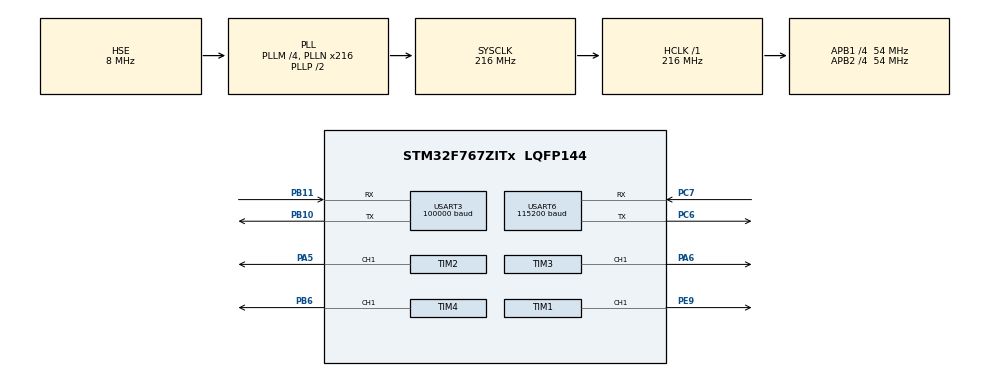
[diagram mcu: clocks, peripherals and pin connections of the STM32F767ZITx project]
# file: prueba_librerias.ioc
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Dma.Request0=USART3_RX
Dma.Request1=USART6_RX
Dma.USART3_RX.0.Direction=DMA_PERIPH_TO_MEMORY
Dma.USART3_RX.0.FIFOMode=DMA_FIFOMODE_DISABLE
Dma.USART3_RX.0.Instance=DMA1_Stream1
Dma.USART3_RX.0.MemDataAlignment=DMA_MDATAALIGN_BYTE
Dma.USART3_RX.0.MemInc=DMA_MINC_ENABLE
Dma.USART3_RX.0.Mode=DMA_NORMAL
Dma.USART3_RX.0.PeriphDataAlignment=DMA_PDATAALIGN_BYTE
Dma.USART3_RX.0.PeriphInc=DMA_PINC_DISABLE
Dma.USART3_RX.0.Priority=DMA_PRIORITY_LOW
Dma.USART6_RX.1.Direction=DMA_PERIPH_TO_MEMORY
Dma.USART6_RX.1.FIFOMode=DMA_FIFOMODE_DISABLE
Dma.USART6_RX.1.Instance=DMA2_Stream1
Dma.USART6_RX.1.MemDataAlignment=DMA_MDATAALIGN_BYTE
Dma.USART6_RX.1.MemInc=DMA_MINC_ENABLE
Dma.USART6_RX.1.Mode=DMA_NORMAL
Dma.USART6_RX.1.PeriphDataAlignment=DMA_PDATAALIGN_BYTE
Dma.USART6_RX.1.PeriphInc=DMA_PINC_DISABLE
Dma.USART6_RX.1.Priority=DMA_PRIORITY_LOW
FREERTOS.BinarySemaphores01=uartTXsemIT,Dynamic,NULL;uartRXsemIT,Dynamic,NULL;buff_TXsemIT,Dynamic,NULL;buff_RXsemIT,Dynamic,NULL;RF_RXsemIT,Dynamic,NULL
FREERTOS.Mutexes01=uartTXmutex,Dynamic,NULL;uartRXmutex,Dynamic,NULL;buff_TXmutex,Dynamic,NULL;buff_RXmutex,Dynamic,NULL;rf_mutex_uart_rx,Dynamic,NULL
FREERTOS.Tasks01=defaultTask,24,128,StartDefaultTask,Default,NULL,Dynamic,NULL,NULL
FREERTOS.configUSE_NEWLIB_REENTRANT=1
Mcu.Family=STM32F7
Mcu.Name=STM32F767ZITx
Mcu.Package=LQFP144
NVIC.DMA1_Stream1_IRQn=true\:5\:0\:false\:false\:true\:true\:false\:true
NVIC.DMA2_Stream1_IRQn=true\:5\:0\:false\:false\:true\:true\:false\:true
NVIC.PriorityGroup=NVIC_PRIORITYGROUP_4
NVIC.TIM8_UP_TIM13_IRQn=true\:15\:0\:false\:false\:true\:false\:false\:true
NVIC.TimeBase=TIM8_UP_TIM13_IRQn
NVIC.TimeBaseIP=TIM8
NVIC.USART3_IRQn=true\:5\:0\:false\:false\:true\:true\:true\:true
NVIC.USART6_IRQn=true\:5\:0\:false\:false\:true\:true\:true\:true
PA5.Signal=S_TIM2_CH1_ETR
PA6.Signal=S_TIM3_CH1
PB10.Mode=Asynchronous
PB10.Signal=USART3_TX
PB11.Mode=Asynchronous
PB11.Signal=USART3_RX
PB6.Signal=S_TIM4_CH1
PC6.Mode=Asynchronous
PC6.Signal=USART6_TX
PC7.Mode=Asynchronous
PC7.Signal=USART6_RX
PE9.Signal=S_TIM1_CH1
PH0/OSC_IN.Mode=HSE-External-Oscillator
PH0/OSC_IN.Signal=RCC_OSC_IN
PH1/OSC_OUT.Mode=HSE-External-Oscillator
PH1/OSC_OUT.Signal=RCC_OSC_OUT
ProjectManager.HeapSize=0x200
ProjectManager.StackSize=0x400
ProjectManager.TargetToolchain=STM32CubeIDE
RCC.AHBFreq_Value=216000000
RCC.APB1CLKDivider=RCC_HCLK_DIV4
RCC.APB1Freq_Value=54000000
RCC.APB1TimFreq_Value=108000000
RCC.APB2CLKDivider=RCC_HCLK_DIV4
RCC.APB2Freq_Value=54000000
RCC.APB2TimFreq_Value=108000000
RCC.CortexFreq_Value=216000000
RCC.HCLKFreq_Value=216000000
RCC.HSE_VALUE=8000000
RCC.HSI_VALUE=16000000
RCC.LSE_VALUE=32768
RCC.PLLM=4
RCC.PLLN=216
RCC.PLLSourceVirtual=RCC_PLLSOURCE_HSE
RCC.SYSCLKFreq_VALUE=216000000
RCC.SYSCLKSource=RCC_SYSCLKSOURCE_PLLCLK
RCC.USBFreq_Value=216000000
RCC.VCOOutputFreq_Value=432000000
SH.S_TIM1_CH1.0=TIM1_CH1,PWM Generation1 CH1
SH.S_TIM2_CH1_ETR.0=TIM2_CH1,PWM Generation1 CH1
SH.S_TIM3_CH1.0=TIM3_CH1,PWM Generation1 CH1
SH.S_TIM4_CH1.0=TIM4_CH1,PWM Generation1 CH1
TIM1.Channel-PWM\ Generation1\ CH1=TIM_CHANNEL_1
TIM1.Period=100-1
TIM1.Prescaler=108-1
TIM2.Channel-PWM\ Generation1\ CH1=TIM_CHANNEL_1
TIM2.Period=100
TIM2.Prescaler=30
TIM3.Channel-PWM\ Generation1\ CH1=TIM_CHANNEL_1
TIM3.Period=1500
TIM3.Prescaler=30
TIM4.Channel-PWM\ Generation1\ CH1=TIM_CHANNEL_1
TIM4.Period=100-1
TIM4.Prescaler=108-1
USART3.BaudRate=100000
USART3.Mode=MODE_RX
USART3.Parity=PARITY_EVEN
USART3.RxPinLevelInvertParam=ADVFEATURE_RXINV_ENABLE
USART3.StopBits=STOPBITS_2
USART3.VirtualMode-Asynchronous=VM_ASYNC
USART3.WordLength=WORDLENGTH_9B
USART6.BaudRate=115200
USART6.VirtualMode-Asynchronous=VM_ASYNC
USART6.WordLength=WORDLENGTH_8B
VP_FREERTOS_VS_CMSIS_V2.Mode=CMSIS_V2
VP_SYS_VS_tim8.Mode=TIM8
VP_TIM1_VS_ClockSourceINT.Mode=Internal
VP_TIM2_VS_ClockSourceINT.Mode=Internal
VP_TIM3_VS_ClockSourceINT.Mode=Internal
VP_TIM4_VS_ClockSourceINT.Mode=Internal
board=custom

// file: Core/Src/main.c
/* USER CODE BEGIN Header */
/**
  ******************************************************************************
  * @file           : main.c
  * @brief          : Main program body
  ******************************************************************************
  * @attention
  *
  * Copyright (c) 2022 STMicroelectronics.
  * All rights reserved.
  *
  * This software is licensed under terms that can be found in the LICENSE file
  * in the root directory of this software component.
  * If no LICENSE file comes with this software, it is provided AS-IS.
  *
  ******************************************************************************
  */
/* USER CODE END Header */
#include "main.h"
#include "cmsis_os.h"

/* USER CODE BEGIN Includes */
int send_cmd[2];
#include <stdbool.h>
#include "LibreriasStm32/include/keya_driver.h"
#include "LibreriasStm32/include/kinematics.h"
#include "LibreriasStm32/include/R12DS.h"

/* USER CODE END Includes */

/* USER CODE BEGIN PTD */
#ifdef __GNUC__
  /* With GCC, small printf (option LD Linker->Libraries->Small printf
     set to 'Yes') calls __io_putchar() */
  #define PUTCHAR_PROTOTYPE int __io_putchar(int ch)
#else
  #define PUTCHAR_PROTOTYPE int fputc(int ch, FILE *f)
#endif /* __GNUC__ */

/* USER CODE END PTD */

TIM_HandleTypeDef htim1;
TIM_HandleTypeDef htim2;
TIM_HandleTypeDef htim3;
TIM_HandleTypeDef htim4;

UART_HandleTypeDef huart3;
UART_HandleTypeDef huart6;
DMA_HandleTypeDef hdma_usart3_rx;
DMA_HandleTypeDef hdma_usart6_rx;

/* Definitions for defaultTask */
osThreadId_t defaultTaskHandle;
const osThreadAttr_t defaultTask_attributes = {
  .name = "defaultTask",
  .stack_size = (1024*2) * 4,
  .priority = (osPriority_t) osPriorityNormal,
};
/* Definitions for uartTXmutex */
osMutexId_t uartTXmutexHandle;
const osMutexAttr_t uartTXmutex_attributes = {
  .name = "uartTXmutex"
};
/* Definitions for uartRXmutex */
osMutexId_t uartRXmutexHandle;
const osMutexAttr_t uartRXmutex_attributes = {
  .name = "uartRXmutex"
};
/* Definitions for buff_TXmutex */
osMutexId_t buff_TXmutexHandle;
const osMutexAttr_t buff_TXmutex_attributes = {
  .name = "buff_TXmutex"
};
/* Definitions for buff_RXmutex */
osMutexId_t buff_RXmutexHandle;
const osMutexAttr_t buff_RXmutex_attributes = {
  .name = "buff_RXmutex"
};
/* Definitions for rf_mutex_uart_rx */
osMutexId_t rf_mutex_uart_rxHandle;
const osMutexAttr_t rf_mutex_uart_rx_attributes = {
  .name = "rf_mutex_uart_rx"
};
/* Definitions for uartTXsemIT */
osSemaphoreId_t uartTXsemITHandle;
const osSemaphoreAttr_t uartTXsemIT_attributes = {
  .name = "uartTXsemIT"
};
/* Definitions for uartRXsemIT */
osSemaphoreId_t uartRXsemITHandle;
const osSemaphoreAttr_t uartRXsemIT_attributes = {
  .name = "uartRXsemIT"
};
/* Definitions for buff_TXsemIT */
osSemaphoreId_t buff_TXsemITHandle;
const osSemaphoreAttr_t buff_TXsemIT_attributes = {
  .name = "buff_TXsemIT"
};
/* Definitions for buff_RXsemIT */
osSemaphoreId_t buff_RXsemITHandle;
const osSemaphoreAttr_t buff_RXsemIT_attributes = {
  .name = "buff_RXsemIT"
};
/* Definitions for RF_RXsemIT */
osSemaphoreId_t RF_RXsemITHandle;
const osSemaphoreAttr_t RF_RXsemIT_attributes = {
  .name = "RF_RXsemIT"
};

void SystemClock_Config(void);
static void MX_GPIO_Init(void);
static void MX_DMA_Init(void);
static void MX_USART3_UART_Init(void);
static void MX_USART6_UART_Init(void);
static void MX_TIM1_Init(void);
static void MX_TIM2_Init(void);
static void MX_TIM3_Init(void);
static void MX_TIM4_Init(void);
void StartDefaultTask(void *argument);

int main(void)
{

  /* MCU Configuration--------------------------------------------------------*/

  /* Reset of all peripherals, Initializes the Flash interface and the Systick. */
  HAL_Init();

  /* Configure the system clock */
  SystemClock_Config();

  /* Initialize all configured peripherals */
  MX_GPIO_Init();
  MX_DMA_Init();
  MX_USART3_UART_Init();
  MX_USART6_UART_Init();
  MX_TIM1_Init();
  MX_TIM2_Init();
  MX_TIM3_Init();
  MX_TIM4_Init();
  /* USER CODE BEGIN 2 */
  __HAL_UART_ENABLE_IT(&huart6, UART_IT_IDLE);
  //__HAL_UART_ENABLE_IT(&huart2, UART_IT_IDLE);
  __HAL_UART_ENABLE_IT(&huart3, UART_IT_IDLE);
  //__HAL_UART_ENABLE_IT(&huart5, UART_IT_IDLE);
  /* USER CODE END 2 */

  /* Init scheduler */
  osKernelInitialize();
  /* Create the mutex(es) */
  /* creation of uartTXmutex */
  uartTXmutexHandle = osMutexNew(&uartTXmutex_attributes);

  /* creation of uartRXmutex */
  uartRXmutexHandle = osMutexNew(&uartRXmutex_attributes);

  /* creation of buff_TXmutex */
  buff_TXmutexHandle = osMutexNew(&buff_TXmutex_attributes);

  /* creation of buff_RXmutex */
  buff_RXmutexHandle = osMutexNew(&buff_RXmutex_attributes);

  /* creation of rf_mutex_uart_rx */
  rf_mutex_uart_rxHandle = osMutexNew(&rf_mutex_uart_rx_attributes);

  /* Create the semaphores(s) */
  /* creation of uartTXsemIT */
  uartTXsemITHandle = osSemaphoreNew(1, 1, &uartTXsemIT_attributes);

  /* creation of uartRXsemIT */
  uartRXsemITHandle = osSemaphoreNew(1, 1, &uartRXsemIT_attributes);

  /* creation of buff_TXsemIT */
  buff_TXsemITHandle = osSemaphoreNew(1, 1, &buff_TXsemIT_attributes);

  /* creation of buff_RXsemIT */
  buff_RXsemITHandle = osSemaphoreNew(1, 1, &buff_RXsemIT_attributes);

  /* creation of RF_RXsemIT */
  RF_RXsemITHandle = osSemaphoreNew(1, 1, &RF_RXsemIT_attributes);

  /* Create the thread(s) */
  /* creation of defaultTask */
  defaultTaskHandle = osThreadNew(StartDefaultTask, NULL, &defaultTask_attributes);

  /* Start scheduler */
  osKernelStart();

  /* We should never get here as control is now taken by the scheduler */
  /* Infinite loop */
  while (1)
  {

  }
}

void SystemClock_Config(void)
{
  RCC_OscInitTypeDef RCC_OscInitStruct = {0};
  RCC_ClkInitTypeDef RCC_ClkInitStruct = {0};

  /** Configure the main internal regulator output voltage
  */
  __HAL_RCC_PWR_CLK_ENABLE();
  __HAL_PWR_VOLTAGESCALING_CONFIG(PWR_REGULATOR_VOLTAGE_SCALE1);
  /** Initializes the RCC Oscillators according to the specified parameters
  * in the RCC_OscInitTypeDef structure.
  */
  RCC_OscInitStruct.OscillatorType = RCC_OSCILLATORTYPE_HSE;
  RCC_OscInitStruct.HSEState = RCC_HSE_ON;
  RCC_OscInitStruct.PLL.PLLState = RCC_PLL_ON;
  RCC_OscInitStruct.PLL.PLLSource = RCC_PLLSOURCE_HSE;
  RCC_OscInitStruct.PLL.PLLM = 4;
  RCC_OscInitStruct.PLL.PLLN = 216;
  RCC_OscInitStruct.PLL.PLLP = RCC_PLLP_DIV2;
  RCC_OscInitStruct.PLL.PLLQ = 2;
  RCC_OscInitStruct.PLL.PLLR = 2;
  if (HAL_RCC_OscConfig(&RCC_OscInitStruct) != HAL_OK)
  {
    Error_Handler();
  }
  /** Activate the Over-Drive mode
  */
  if (HAL_PWREx_EnableOverDrive() != HAL_OK)
  {
    Error_Handler();
  }
  /** Initializes the CPU, AHB and APB buses clocks
  */
  RCC_ClkInitStruct.ClockType = RCC_CLOCKTYPE_HCLK|RCC_CLOCKTYPE_SYSCLK
                              |RCC_CLOCKTYPE_PCLK1|RCC_CLOCKTYPE_PCLK2;
  RCC_ClkInitStruct.SYSCLKSource = RCC_SYSCLKSOURCE_PLLCLK;
  RCC_ClkInitStruct.AHBCLKDivider = RCC_SYSCLK_DIV1;
  RCC_ClkInitStruct.APB1CLKDivider = RCC_HCLK_DIV4;
  RCC_ClkInitStruct.APB2CLKDivider = RCC_HCLK_DIV4;

  if (HAL_RCC_ClockConfig(&RCC_ClkInitStruct, FLASH_LATENCY_7) != HAL_OK)
  {
    Error_Handler();
  }
}

static void MX_TIM1_Init(void)
{

  TIM_ClockConfigTypeDef sClockSourceConfig = {0};
  TIM_MasterConfigTypeDef sMasterConfig = {0};
  TIM_OC_InitTypeDef sConfigOC = {0};
  TIM_BreakDeadTimeConfigTypeDef sBreakDeadTimeConfig = {0};

  htim1.Instance = TIM1;
  htim1.Init.Prescaler = 108-1;
  htim1.Init.CounterMode = TIM_COUNTERMODE_UP;
  htim1.Init.Period = 100-1;
  htim1.Init.ClockDivision = TIM_CLOCKDIVISION_DIV1;
  htim1.Init.RepetitionCounter = 0;
  htim1.Init.AutoReloadPreload = TIM_AUTORELOAD_PRELOAD_DISABLE;
  if (HAL_TIM_Base_Init(&htim1) != HAL_OK)
  {
    Error_Handler();
  }
  sClockSourceConfig.ClockSource = TIM_CLOCKSOURCE_INTERNAL;
  if (HAL_TIM_ConfigClockSource(&htim1, &sClockSourceConfig) != HAL_OK)
  {
    Error_Handler();
  }
  if (HAL_TIM_PWM_Init(&htim1) != HAL_OK)
  {
    Error_Handler();
  }
  sMasterConfig.MasterOutputTrigger = TIM_TRGO_RESET;
  sMasterConfig.MasterOutputTrigger2 = TIM_TRGO2_RESET;
  sMasterConfig.MasterSlaveMode = TIM_MASTERSLAVEMODE_DISABLE;
  if (HAL_TIMEx_MasterConfigSynchronization(&htim1, &sMasterConfig) != HAL_OK)
  {
    Error_Handler();
  }
  sConfigOC.OCMode = TIM_OCMODE_PWM1;
  sConfigOC.Pulse = 0;
  sConfigOC.OCPolarity = TIM_OCPOLARITY_HIGH;
  sConfigOC.OCNPolarity = TIM_OCNPOLARITY_HIGH;
  sConfigOC.OCFastMode = TIM_OCFAST_DISABLE;
  sConfigOC.OCIdleState = TIM_OCIDLESTATE_RESET;
  sConfigOC.OCNIdleState = TIM_OCNIDLESTATE_RESET;
  if (HAL_TIM_PWM_ConfigChannel(&htim1, &sConfigOC, TIM_CHANNEL_1) != HAL_OK)
  {
    Error_Handler();
  }
  sBreakDeadTimeConfig.OffStateRunMode = TIM_OSSR_DISABLE;
  sBreakDeadTimeConfig.OffStateIDLEMode = TIM_OSSI_DISABLE;
  sBreakDeadTimeConfig.LockLevel = TIM_LOCKLEVEL_OFF;
  sBreakDeadTimeConfig.DeadTime = 0;
  sBreakDeadTimeConfig.BreakState = TIM_BREAK_DISABLE;
  sBreakDeadTimeConfig.BreakPolarity = TIM_BREAKPOLARITY_HIGH;
  sBreakDeadTimeConfig.BreakFilter = 0;
  sBreakDeadTimeConfig.Break2State = TIM_BREAK2_DISABLE;
  sBreakDeadTimeConfig.Break2Polarity = TIM_BREAK2POLARITY_HIGH;
  sBreakDeadTimeConfig.Break2Filter = 0;
  sBreakDeadTimeConfig.AutomaticOutput = TIM_AUTOMATICOUTPUT_DISABLE;
  if (HAL_TIMEx_ConfigBreakDeadTime(&htim1, &sBreakDeadTimeConfig) != HAL_OK)
  {
    Error_Handler();
  }
  HAL_TIM_MspPostInit(&htim1);

}

static void MX_TIM2_Init(void)
{

  TIM_ClockConfigTypeDef sClockSourceConfig = {0};
  TIM_MasterConfigTypeDef sMasterConfig = {0};
  TIM_OC_InitTypeDef sConfigOC = {0};

  htim2.Instance = TIM2;
  htim2.Init.Prescaler = 30;
  htim2.Init.CounterMode = TIM_COUNTERMODE_UP;
  htim2.Init.Period = 100;
  htim2.Init.ClockDivision = TIM_CLOCKDIVISION_DIV1;
  htim2.Init.AutoReloadPreload = TIM_AUTORELOAD_PRELOAD_DISABLE;
  if (HAL_TIM_Base_Init(&htim2) != HAL_OK)
  {
    Error_Handler();
  }
  sClockSourceConfig.ClockSource = TIM_CLOCKSOURCE_INTERNAL;
  if (HAL_TIM_ConfigClockSource(&htim2, &sClockSourceConfig) != HAL_OK)
  {
    Error_Handler();
  }
  if (HAL_TIM_PWM_Init(&htim2) != HAL_OK)
  {
    Error_Handler();
  }
  sMasterConfig.MasterOutputTrigger = TIM_TRGO_RESET;
  sMasterConfig.MasterSlaveMode = TIM_MASTERSLAVEMODE_DISABLE;
  if (HAL_TIMEx_MasterConfigSynchronization(&htim2, &sMasterConfig) != HAL_OK)
  {
    Error_Handler();
  }
  sConfigOC.OCMode = TIM_OCMODE_PWM1;
  sConfigOC.Pulse = 0;
  sConfigOC.OCPolarity = TIM_OCPOLARITY_HIGH;
  sConfigOC.OCFastMode = TIM_OCFAST_DISABLE;
  if (HAL_TIM_PWM_ConfigChannel(&htim2, &sConfigOC, TIM_CHANNEL_1) != HAL_OK)
  {
    Error_Handler();
  }
  HAL_TIM_MspPostInit(&htim2);

}

static void MX_TIM3_Init(void)
{

  TIM_ClockConfigTypeDef sClockSourceConfig = {0};
  TIM_MasterConfigTypeDef sMasterConfig = {0};
  TIM_OC_InitTypeDef sConfigOC = {0};

  htim3.Instance = TIM3;
  htim3.Init.Prescaler = 30;
  htim3.Init.CounterMode = TIM_COUNTERMODE_UP;
  htim3.Init.Period = 100;
  htim3.Init.ClockDivision = TIM_CLOCKDIVISION_DIV1;
  htim3.Init.AutoReloadPreload = TIM_AUTORELOAD_PRELOAD_DISABLE;

  if (HAL_TIM_Base_Init(&htim3) != HAL_OK)
  {
    Error_Handler();
  }
  sClockSourceConfig.ClockSource = TIM_CLOCKSOURCE_INTERNAL;
  if (HAL_TIM_ConfigClockSource(&htim3, &sClockSourceConfig) != HAL_OK)
  {
    Error_Handler();
  }
  if (HAL_TIM_PWM_Init(&htim3) != HAL_OK)
  {
    Error_Handler();
  }
  sMasterConfig.MasterOutputTrigger = TIM_TRGO_RESET;
  sMasterConfig.MasterSlaveMode = TIM_MASTERSLAVEMODE_DISABLE;
  if (HAL_TIMEx_MasterConfigSynchronization(&htim3, &sMasterConfig) != HAL_OK)
  {
    Error_Handler();
  }
  sConfigOC.OCMode = TIM_OCMODE_PWM1;
  sConfigOC.Pulse = 0;
  sConfigOC.OCPolarity = TIM_OCPOLARITY_HIGH;
  sConfigOC.OCFastMode = TIM_OCFAST_DISABLE;
  if (HAL_TIM_PWM_ConfigChannel(&htim3, &sConfigOC, TIM_CHANNEL_1) != HAL_OK)
  {
    Error_Handler();
  }
  HAL_TIM_MspPostInit(&htim3);

}

static void MX_TIM4_Init(void)
{

  TIM_ClockConfigTypeDef sClockSourceConfig = {0};
  TIM_MasterConfigTypeDef sMasterConfig = {0};
  TIM_OC_InitTypeDef sConfigOC = {0};

  htim4.Instance = TIM4;
  htim4.Init.Prescaler = 108-1;
  htim4.Init.CounterMode = TIM_COUNTERMODE_UP;
  htim4.Init.Period = 100-1;
  htim4.Init.ClockDivision = TIM_CLOCKDIVISION_DIV1;
  htim4.Init.AutoReloadPreload = TIM_AUTORELOAD_PRELOAD_DISABLE;
  if (HAL_TIM_Base_Init(&htim4) != HAL_OK)
  {
    Error_Handler();
  }
  sClockSourceConfig.ClockSource = TIM_CLOCKSOURCE_INTERNAL;
  if (HAL_TIM_ConfigClockSource(&htim4, &sClockSourceConfig) != HAL_OK)
  {
    Error_Handler();
  }
  if (HAL_TIM_PWM_Init(&htim4) != HAL_OK)
  {
    Error_Handler();
  }
  sMasterConfig.MasterOutputTrigger = TIM_TRGO_RESET;
  sMasterConfig.MasterSlaveMode = TIM_MASTERSLAVEMODE_DISABLE;
  if (HAL_TIMEx_MasterConfigSynchronization(&htim4, &sMasterConfig) != HAL_OK)
  {
    Error_Handler();
  }
  sConfigOC.OCMode = TIM_OCMODE_PWM1;
  sConfigOC.Pulse = 0;
  sConfigOC.OCPolarity = TIM_OCPOLARITY_HIGH;
  sConfigOC.OCFastMode = TIM_OCFAST_DISABLE;
  if (HAL_TIM_PWM_ConfigChannel(&htim4, &sConfigOC, TIM_CHANNEL_1) != HAL_OK)
  {
    Error_Handler();
  }
  HAL_TIM_MspPostInit(&htim4);

}

static void MX_USART3_UART_Init(void)
{

  huart3.Instance = USART3;
  huart3.Init.BaudRate = 100000;
  huart3.Init.WordLength = UART_WORDLENGTH_9B;
  huart3.Init.StopBits = UART_STOPBITS_2;
  huart3.Init.Parity = UART_PARITY_EVEN;
  huart3.Init.Mode = UART_MODE_RX;
  huart3.Init.HwFlowCtl = UART_HWCONTROL_NONE;
  huart3.Init.OverSampling = UART_OVERSAMPLING_16;
  huart3.Init.OneBitSampling = UART_ONE_BIT_SAMPLE_DISABLE;
  huart3.AdvancedInit.AdvFeatureInit = UART_ADVFEATURE_RXINVERT_INIT;
  huart3.AdvancedInit.RxPinLevelInvert = UART_ADVFEATURE_RXINV_ENABLE;
  if (HAL_UART_Init(&huart3) != HAL_OK)
  {
    Error_Handler();
  }

}

static void MX_USART6_UART_Init(void)
{

  huart6.Instance = USART6;
  huart6.Init.BaudRate = 115200;
  huart6.Init.WordLength = UART_WORDLENGTH_8B;
  huart6.Init.StopBits = UART_STOPBITS_1;
  huart6.Init.Parity = UART_PARITY_NONE;
  huart6.Init.Mode = UART_MODE_TX_RX;
  huart6.Init.HwFlowCtl = UART_HWCONTROL_NONE;
  huart6.Init.OverSampling = UART_OVERSAMPLING_16;
  huart6.Init.OneBitSampling = UART_ONE_BIT_SAMPLE_DISABLE;
  huart6.AdvancedInit.AdvFeatureInit = UART_ADVFEATURE_NO_INIT;
  if (HAL_UART_Init(&huart6) != HAL_OK)
  {
    Error_Handler();
  }

}

static void MX_DMA_Init(void)
{

  /* DMA controller clock enable */
  __HAL_RCC_DMA1_CLK_ENABLE();
  __HAL_RCC_DMA2_CLK_ENABLE();

  /* DMA interrupt init */
  /* DMA1_Stream1_IRQn interrupt configuration */
  HAL_NVIC_SetPriority(DMA1_Stream1_IRQn, 5, 0);
  HAL_NVIC_EnableIRQ(DMA1_Stream1_IRQn);
  /* DMA2_Stream1_IRQn interrupt configuration */
  HAL_NVIC_SetPriority(DMA2_Stream1_IRQn, 5, 0);
  HAL_NVIC_EnableIRQ(DMA2_Stream1_IRQn);

}

static void MX_GPIO_Init(void)
{

  /* GPIO Ports Clock Enable */
  __HAL_RCC_GPIOH_CLK_ENABLE();
  __HAL_RCC_GPIOA_CLK_ENABLE();
  __HAL_RCC_GPIOE_CLK_ENABLE();
  __HAL_RCC_GPIOB_CLK_ENABLE();
  __HAL_RCC_GPIOC_CLK_ENABLE();

}

/* USER CODE BEGIN 4 */

void USER_UART_IRQHandler(UART_HandleTypeDef *huart)
{
    if(huart == &huart3)                                   //Determine whether it is serial port 1
    {
        if(RESET != __HAL_UART_GET_FLAG(&huart3, UART_FLAG_IDLE))   //Judging whether it is idle interruption
        {
            __HAL_UART_CLEAR_IDLEFLAG(&huart3);                     //Clear idle interrupt sign (otherwise it will continue to enter interrupt)
#if DEBUG_KEYA
            //printf("\r\nUART2 Idle IQR Detected\r\n");
#endif
            osSemaphoreRelease(RF_RXsemITHandle);
        }
    }
}
/*
void HAL_UART_TxCpltCallback(UART_HandleTypeDef *huart)
{
	 if(huart == &huart3)
	 {
		 osSemaphoreRelease(uartTXsemITHandle);
	 }
}

*/

void USER_UART_IRQHandler_1(UART_HandleTypeDef *huart)
{
    if(huart == &huart6)                                   //Determine whether it is serial port 1
    {
        if(RESET != __HAL_UART_GET_FLAG(&huart6, UART_FLAG_IDLE))   //Judging whether it is idle interruption
        {
            __HAL_UART_CLEAR_IDLEFLAG(&huart6);                     //Clear idle interrupt sign (otherwise it will continue to enter interrupt)
#if DEBUG_KEYA
            //printf("\r\nUART2 Idle IQR Detected\r\n");
#endif
            osSemaphoreRelease(uartRXsemITHandle);
        }
    }
}

void HAL_UART_TxCpltCallback(UART_HandleTypeDef *huart)
{
	 if(huart == &huart6)
	 {
		 osSemaphoreRelease(uartTXsemITHandle);
	 }
}

PUTCHAR_PROTOTYPE
{
  /* Place your implementation of fputc here */
  /* e.g. write a character to the EVAL_COM1 and Loop until the end of transmission*/

   //HAL_UART_Transmit(&huart6, (uint8_t *)&ch, 1, 0xFFFF);

  return ch;
}

/* USER CODE END 4 */

void StartDefaultTask(void *argument)
{
  /* USER CODE BEGIN 5 */
	uint8_t da[15];
	TIM4 -> CCR1  = 100 ;
    TIM1 -> CCR1  = 100 ;
	cal_variable_t  variable={.driver=0};

	r9ds_t  r9ds ={.huart_r9ds=&huart3,.mutex_uart_rx=&rf_mutex_uart_rxHandle,.semaphore_uartIdle=&RF_RXsemITHandle ,
			       .control=0,.control_w=0,.BRU_ONOFF=0,.brushes=0,.vel_orugas=0};//.hdma_usart_rx=&hdma_usart3_rx,
    /*
	buff_t buff_blu ={.huart_blu=&huart6, .buff_RXmutex=&buff_RXmutexHandle, .buff_TXmutex=&buff_TXmutexHandle,
									 .buff_RXsem=&buff_RXsemITHandle,.buff_TXsem=&buff_TXsemITHandle,
								 .BUFF_SIZE=50, .buff_len=0,};
   */

	keya_t keya_driver ={.huart=&huart6, .uartRXmutex=&uartRXmutexHandle, .uartTXmutex=&uartTXmutexHandle,.uartRXsem=&uartRXsemITHandle,
			             .uartTXsem=&uartTXsemITHandle,.BUFFER_SIZE=50, .buffer_len=0};
    //data_rec data_env={ .onOff=0,.brake=0,.elecValOnOff=0,.brushesOnOff=0,.elecVal=0,.brush=0,.frontBrushSpeed=0,.backBrushSpeed=0,.robotLinearVelocity=0,.robotAngularVelocity=0}

  /* Infinite loop */
  for(;;)
  {

	  //osDelay(100);
	  /*
	  TIM1 -> CCR1  = 0 ;
	  TIM2 -> CCR1  = 0 ;
	  TIM3 -> CCR1  = 0 ;
	  TIM4 -> CCR1  = 0 ;
	  */
	  printf("\n");
      printf("prueba rf \n");
	  r9ds_getChannels(&r9ds);
	  updateCallback(&r9ds);
	  float velocidad_lineal=r9ds.control;
	  float velocidad_angular=r9ds.control_w;
	  int BRUS_ONOFF=r9ds.BRU_ONOFF;
      int BRUS_1_2=r9ds.brushes;
      int VEL_ORUGAS=r9ds.vel_orugas;
      printf("escobilla_1_2 = %d\n",BRUS_1_2);
	  printf("ENCENDIDO_ESCOBIULLAS = %d\n",BRUS_ONOFF);

	  //printf("comandos = %d  %d\n",send_cmd[0],send_cmd[1]);
	  //printf("value_main : %f\n ",value_control);

	  switch (VEL_ORUGAS) {
	  			case 1:
	  				velocidad_lineal =velocidad_lineal*LINEAR_MAX_VELOCITY;
	  				break;
	  			case 2:

	  				velocidad_lineal =velocidad_lineal* LINEAR_MEDIO_MAX_VELOCITY;
	  				break;
	  			case 3:
	  				velocidad_lineal =velocidad_lineal*LINEAR_MINIMO_MAX_VELOCITY;
	  				break;
	  }

	  controlvel(&variable,velocidad_lineal,velocidad_angular);
	  //printf("velocidad_lineal = %f\n",velocidad_lineal);

      if (BRUS_ONOFF == 0){
    	 switch (BRUS_1_2) {
			case 1:

			    TIM1 -> CCR1  = 100 ;
			    TIM4 -> CCR1  = 0 ;

				break;
			case 2:

				TIM4 -> CCR1  = 0 ;
				TIM1 -> CCR1  = 0 ;
				break;
			case 3:
				TIM4 -> CCR1  = 100 ;
				TIM1 -> CCR1  =  0 ;
				break;
		}
      }
      else if (BRUS_ONOFF==1){

     	TIM4 -> CCR1  = 100 ;
    	TIM1 -> CCR1  = 100 ;
      }

      HAL_TIM_PWM_Start( & htim4,  TIM_CHANNEL_1);
      HAL_TIM_PWM_Start( & htim1,  TIM_CHANNEL_1);

      controlvel(&variable, velocidad_lineal, velocidad_angular);
  	  send_cmd[0] = variable.driver[0];
  	  send_cmd[1] = variable.driver[1];
      set_speed(&keya_driver,(int *)&send_cmd[0]);

     // HAL_TIM_PWM_Stop( & htim2,  TIM_CHANNEL_1);
	  //printf("%s\n",da);
	  //size_t len=strlen(da);
	  //HAL_UART_Transmit_IT(&huart6,da,len);

      //memset(da,0,50);

	  //write_keya(&keya_driver,&da[0],50);
	  //memset(da,0,50);

      //r9ds_readData(&r9ds);

	  /*
	  printf("PRUEBA DE LA LIBRERIA :D \n");
	  uint8_t buffer[50]=" init !!\n init !!\n";
	  write_bluetooth(&buff_blu, &buffer[0], 50);
	  read_bluetooth(&buff_blu);
	  */

      /*
	  printf("PRUEBA DE LA LIBRERIA :D \n");
	  uint8_t buffer[50]=" init !!\n init !!\n";
	  //write_keya(&keya_driver, &buffer[0], 50);

	 //send_command(&keya_driver,"prueba\n");
	  read_keya(&keya_driver);
	  int speed[2]={0,0};
	  get_speed(&keya_driver , &speed[0]);
	  printf("speed %d,%d\n",speed[0],speed[1]);
      */

	  //printf("!M 100 100\n");
	  //uint8_t buffer[50]="!M 100 -30\n";
	  //write_keya(&keya_driver,&buffer[0],50);

      /*
	  int n=0;
	  while (n <= 1){
		  //uint8_t buffer[50]="?S";
		 uint8_t buffer[50]="!M 10 10\n";
		 size_t len=strlen(buffer);
		 write_keya(&keya_driver,&buffer[0],50);
		 //read_keya(&keya_driver);
		 HAL_Delay(100);
	  }
	  */

	  //int power[2]={0,0};
	  //get_motor_power(&keya_driver,&power[0]);
	  //printf("motor_power %d,%d\n",power[0],power[1]);

	   //float temperature[3]={0,0,0};
	   //get_temperature(&keya_driver, &temperature[0]);
	   //printf("speed %.3f , %.3f , %.3f\n",temperature[0],temperature[1],temperature[2]);
	   //bool fault[8]={0,0,0,0,0,0,0,0};
	   //get_fault_idn(&keya_driver,&fault[0]);
	   //printf("fault %d\n",fault[0]);

 }

  /* USER CODE END 5 */
}

void HAL_TIM_PeriodElapsedCallback(TIM_HandleTypeDef *htim)
{
  if (htim->Instance == TIM8) {
    HAL_IncTick();
  }
}

void Error_Handler(void)
{
  __disable_irq();
  while (1)
  {
  }
}
